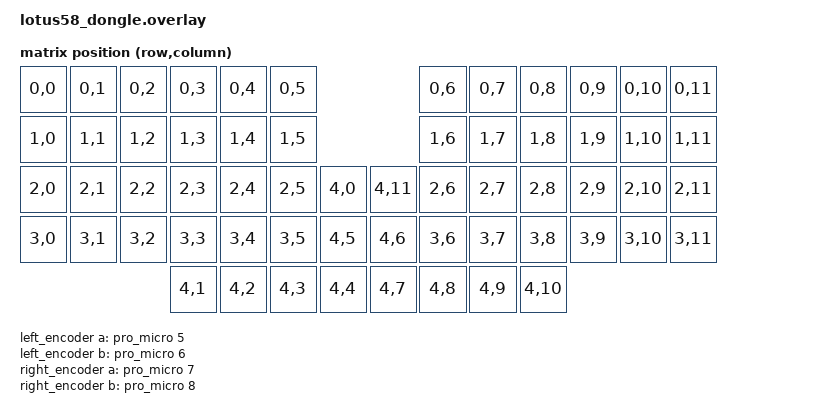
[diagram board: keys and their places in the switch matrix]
/*
 * Lotus58 USB dongle
 *
 * dongle 自己没有任何按键，作为 split central 接收左右两半发来的按键事件。
 * 这里需要提供：
 *   1. mock kscan（没有按键矩阵）
 *   2. 与 lotus58 一致的矩阵变换（按键位置编号必须一致）
 *   3. 物理布局（ZMK Studio 需要）
 *   4. 编码器占位节点 + keymap-sensors（共享 keymap 里引用了 &left_encoder /
 *      &right_encoder / &sensors，不定义会编译失败）
 *   5. 0.96" 128x64 SSD1306 OLED，接 D2(SDA=P0.17) / D3(SCL=P0.20)
 *
 * SPDX-License-Identifier: MIT
 */
#include <dt-bindings/zmk/matrix_transform.h>
#include "lotus58-layouts.dtsi"

/ {
    chosen {
        zmk,kscan = &mock_kscan;
        zmk,physical-layout = &physical_layout0;
        zephyr,display = &oled;
    };

    mock_kscan: mock_kscan_0 {
        compatible = "zmk,kscan-mock";
        columns = <0>;
        rows = <0>;
        events = <0>;
    };

    /* 与 lotus58.dtsi 中的 default_transform 保持一致 */
    default_transform: keymap_transform_0 {
        compatible = "zmk,matrix-transform";
        columns = <16>;
        rows = <5>;
        map = <
RC(0,0) RC(0,1) RC(0,2) RC(0,3) RC(0,4) RC(0,5)                   RC(0,6) RC(0,7) RC(0,8)  RC(0,9) RC(0,10) RC(0,11)
RC(1,0) RC(1,1) RC(1,2) RC(1,3) RC(1,4) RC(1,5)                   RC(1,6) RC(1,7) RC(1,8)  RC(1,9) RC(1,10) RC(1,11)
RC(2,0) RC(2,1) RC(2,2) RC(2,3) RC(2,4) RC(2,5) RC(4,0)  RC(4,11) RC(2,6) RC(2,7) RC(2,8)  RC(2,9) RC(2,10) RC(2,11)
RC(3,0) RC(3,1) RC(3,2) RC(3,3) RC(3,4) RC(3,5) RC(4,5)  RC(4,6)  RC(3,6) RC(3,7) RC(3,8)  RC(3,9) RC(3,10) RC(3,11)
                        RC(4,1) RC(4,2) RC(4,3) RC(4,4)  RC(4,7)  RC(4,8) RC(4,9) RC(4,10)
        >;
    };

    /* dongle 没有物理编码器，这些节点只是让共享 keymap 的引用能解析。
     * 用的是 dongle 上不接任何东西的引脚，不会产生事件。 */
    left_encoder: encoder_left {
        compatible = "alps,ec11";
        a-gpios = <&pro_micro 5 (GPIO_ACTIVE_HIGH | GPIO_PULL_UP)>;
        b-gpios = <&pro_micro 6 (GPIO_ACTIVE_HIGH | GPIO_PULL_UP)>;
        steps = <80>;
    };

    right_encoder: encoder_right {
        compatible = "alps,ec11";
        a-gpios = <&pro_micro 7 (GPIO_ACTIVE_HIGH | GPIO_PULL_UP)>;
        b-gpios = <&pro_micro 8 (GPIO_ACTIVE_HIGH | GPIO_PULL_UP)>;
        steps = <80>;
    };

    sensors: sensors {
        compatible = "zmk,keymap-sensors";
        sensors = <&left_encoder &right_encoder>;
        triggers-per-rotation = <20>;
    };
};

&physical_layout0 {
    transform = <&default_transform>;
};

/* 0.96" 128x64 OLED（SSD1306，I2C 地址 0x3c） */
&pro_micro_i2c {
    status = "okay";
    oled: ssd1306@3c {
        compatible = "solomon,ssd1306fb";
        reg = <0x3c>;
        width = <128>;
        height = <64>;
        segment-offset = <0>;
        page-offset = <0>;
        display-offset = <0>;
        multiplex-ratio = <63>;
        segment-remap;
        com-invdir;
        com-sequential;
        prechargep = <0x22>;
    };
};
